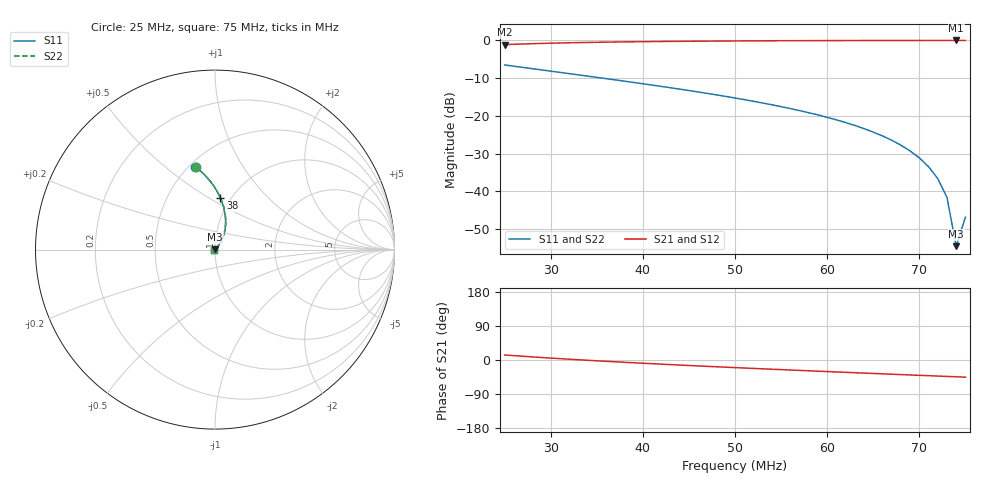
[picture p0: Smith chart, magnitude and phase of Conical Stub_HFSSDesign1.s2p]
! Touchstone file exported from HFSS 2022.2.4
!  File:  /home/frederic/Ansoft/Conical Stub.aedt
!  Generated:  11:44:42 AM  Jun 23, 2026
!  Design:  HFSSDesign1
!  Project:  Conical Stub
!  Setup:  Setup1
!  Solution:  Sweep
! Variables:
!  L = 1000mm
!  L2 = 250mm
!  OD = 235mm
!  Zsc = 50ohm
!  Ztop = 20ohm
!Data is not renormalized
# GHz S MA R 19.968461
! Terminal data exported
! Port[1] = 1
! Port[2] = 2
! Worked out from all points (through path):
!   51 points, 25 MHz to 75 MHz, reference per port
!   highest |S21| = 0.00 dB at 74 MHz (marker M1); lowest = -1.1 dB at 25 MHz (marker M2)
!   lowest |S11| = -54.5 dB at 74 MHz (marker M3), VSWR 1.00
!   |S11| at or under -10 dB: 35.67 MHz to end of sweep
!   |S22| runs from -54.5 to -6.5 dB; largest |S21 - S12| = 6.3e-15
!   S11 on the Smith chart (normalised r, x): 25 MHz: 0.54, +0.64; 38 MHz: 0.90, +0.56; 75 MHz: 0.99, -0.01
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0.025  0.4736 103.3  0.8807 13.3  0.8807 13.3  0.4736 103.2
! Gamma 0 0.523961255488054 0 0.523961255487942
! Port Impedance 19.9684612517809 0 19.9694771395773 0
0.029  0.4073 96.6  0.9133 6.6  0.9133 6.6  0.4073 96.6
0.031  0.3777 93.6  0.9259 3.6  0.9259 3.6  0.3777 93.6
0.034  0.3371 89.3  0.9415 -0.7  0.9415 -0.7  0.3371 89.3
0.038  0.2889 84.0  0.9574 -6.0  0.9574 -6.0  0.2889 84.0
0.042  0.2462 79.1  0.9692 -11.0  0.9692 -11.0  0.2462 79.0
0.046  0.2078 74.4  0.9782 -15.6  0.9782 -15.6  0.2078 74.3
0.05  0.1728 70.0  0.9849 -20.1  0.9849 -20.1  0.1728 69.9
0.055  0.1328 64.6  0.9911 -25.4  0.9911 -25.4  0.1328 64.6
0.059  0.1031 60.5  0.9947 -29.5  0.9947 -29.5  0.1031 60.5
0.061  0.08877 58.5  0.9961 -31.5  0.9961 -31.5  0.08877 58.4
0.063  0.0748 56.5  0.9972 -33.5  0.9972 -33.5  0.0748 56.4
0.065  0.06111 54.5  0.9981 -35.5  0.9981 -35.5  0.06111 54.5
0.067  0.04766 52.5  0.9989 -37.5  0.9989 -37.5  0.04766 52.5
0.068  0.04101 51.5  0.9992 -38.5  0.9992 -38.5  0.04101 51.5
0.069  0.03441 50.5  0.9994 -39.5  0.9994 -39.5  0.03441 50.6
0.07  0.02784 49.5  0.9996 -40.4  0.9996 -40.4  0.02784 49.6
0.071  0.02131 48.5  0.9998 -41.4  0.9998 -41.4  0.02131 48.7
0.072  0.01481 47.5  0.9999 -42.4  0.9999 -42.4  0.01481 47.7
0.073  0.008334 46.4  1 -43.4  1 -43.4  0.008334 46.9
0.074  0.001882 44.4  1 -44.3  1 -44.3  0.001882 46.9
0.075  0.004553 -134.7  1 -45.3  1 -45.3  0.004553 -135.9
